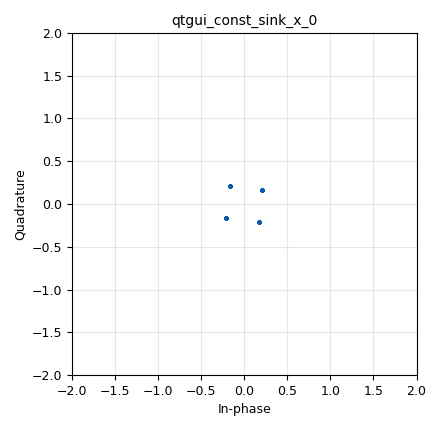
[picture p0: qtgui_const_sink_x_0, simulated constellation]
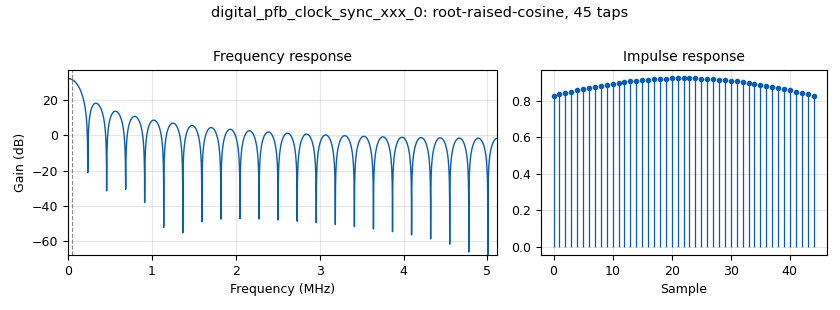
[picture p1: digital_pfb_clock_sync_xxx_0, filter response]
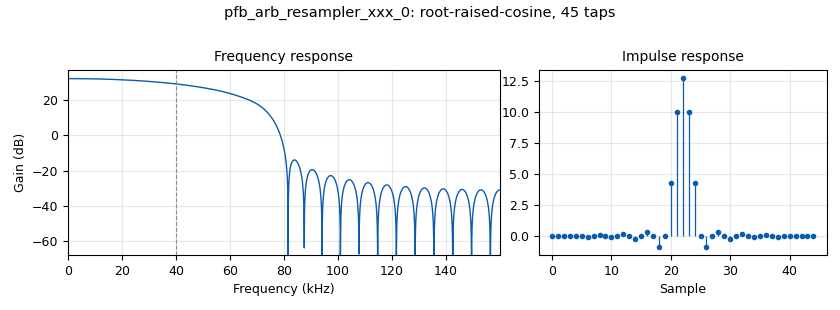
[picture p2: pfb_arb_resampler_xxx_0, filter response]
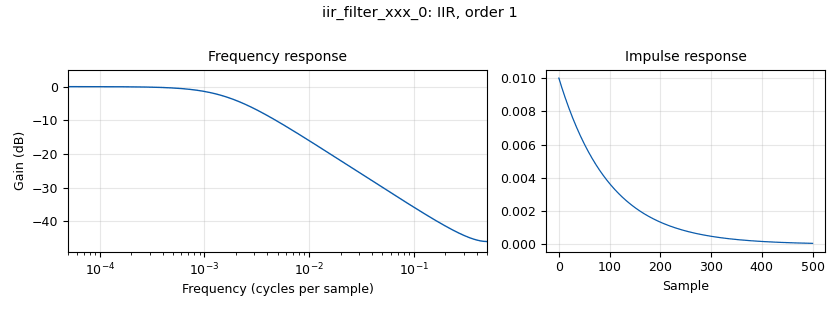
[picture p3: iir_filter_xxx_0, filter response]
options:
  parameters:
    author: aditya
    generate_options: qt_gui
    id: udp_feedback
    output_language: python
    title: Not titled yet
  states: {}

blocks:
- name: samp_rate
  id: variable
  parameters:
    value: '320000'
  states: {}
- name: sps
  id: variable
  parameters:
    value: '4'
  states: {}
- name: analog_const_source_x_0
  id: analog_const_source_x
  parameters:
    const: '1'
    type: byte
  states: {state: disabled}
- name: analog_random_source_x_0
  id: analog_random_source_x
  parameters:
    max: '4'
    min: '0'
    num_samps: '1000'
    repeat: 'True'
    type: byte
  states: {}
- name: analog_sig_source_x_0
  id: analog_sig_source_x
  parameters:
    amp: '1'
    freq: '0.1'
    offset: '0'
    phase: '0'
    samp_rate: samp_rate
    type: complex
    waveform: analog.GR_COS_WAVE
  states: {}
- name: blocks_add_const_vxx_0
  id: blocks_add_const_vxx
  parameters:
    const: '-0.5'
    type: float
  states: {}
- name: blocks_add_const_vxx_0_0
  id: blocks_add_const_vxx
  parameters:
    const: '-0.5'
    type: float
  states: {}
- name: blocks_complex_to_imag_0
  id: blocks_complex_to_imag
  parameters: {}
  states: {}
- name: blocks_complex_to_real_0
  id: blocks_complex_to_real
  parameters: {}
  states: {}
- name: blocks_delay_0_0
  id: blocks_delay
  parameters:
    delay: '10'
    type: float
  states: {}
- name: blocks_multiply_const_vxx_1
  id: blocks_multiply_const_vxx
  parameters:
    const: '1.414'
    type: float
  states: {}
- name: blocks_multiply_const_vxx_1_0
  id: blocks_multiply_const_vxx
  parameters:
    const: '1.414'
    type: float
  states: {}
- name: blocks_multiply_xx_0
  id: blocks_multiply_xx
  parameters:
    type: complex
  states: {}
- name: blocks_multiply_xx_0_0
  id: blocks_multiply_xx
  parameters:
    type: float
  states: {}
- name: blocks_multiply_xx_0_1
  id: blocks_multiply_xx
  parameters:
    type: float
  states: {}
- name: blocks_multiply_xx_1
  id: blocks_multiply_xx
  parameters:
    type: complex
  states: {}
- name: blocks_sub_xx_0
  id: blocks_sub_xx
  parameters:
    type: float
  states: {}
- name: blocks_threshold_ff_0
  id: blocks_threshold_ff
  parameters:
    high: '0.001'
    init: '0'
    low: '-0.001'
  states: {}
- name: blocks_threshold_ff_0_0
  id: blocks_threshold_ff
  parameters:
    high: '0.001'
    init: '0'
    low: '-0.001'
  states: {}
- name: blocks_throttle_0
  id: blocks_throttle
  parameters:
    samples_per_second: samp_rate
    type: complex
  states: {}
- name: blocks_udp_sink_0
  id: blocks_udp_sink
  parameters:
    eof: 'True'
    ipaddr: 127.0.0.1
    port: '12345'
    psize: '1472'
    type: float
    vlen: '1'
  states: {}
- name: blocks_udp_source_0
  id: blocks_udp_source
  parameters:
    eof: 'True'
    ipaddr: 127.0.0.1
    port: '12345'
    psize: '1472'
    type: float
    vlen: '1'
  states: {}
- name: blocks_vco_c_0
  id: blocks_vco_c
  parameters:
    amplitude: '1'
    samp_rate: samp_rate
    sensitivity: '-5'
  states: {}
- name: digital_chunks_to_symbols_xx_0
  id: digital_chunks_to_symbols_xx
  parameters:
    dimension: '1'
    in_type: byte
    out_type: complex
    symbol_table: ((1+1j),(-1+1j),(-1-1j),(1-1j))
  states: {}
- name: digital_pfb_clock_sync_xxx_0
  id: digital_pfb_clock_sync_xxx
  parameters:
    filter_size: '32'
    init_phase: '16'
    loop_bw: 2*3.14159265/100
    max_dev: '1.5'
    osps: '1'
    sps: sps
    taps: firdes.root_raised_cosine(40,32*samp_rate,samp_rate/sps,0.99,11*sps)
    type: ccf
  states: {}
- name: iir_filter_xxx_0
  id: iir_filter_xxx
  parameters:
    fbtaps: '[-1,0.99]'
    fftaps: '0.01'
    type: ffd
  states: {}
- name: iir_filter_xxx_1
  id: iir_filter_xxx
  parameters:
    fbtaps: '[-1, 1]'
    fftaps: '[1.0001, -1]'
    type: ffd
  states: {}
- name: pfb_arb_resampler_xxx_0
  id: pfb_arb_resampler_xxx
  parameters:
    atten: '100'
    nfilts: '32'
    rrate: sps
    taps: firdes.root_raised_cosine(40,samp_rate,samp_rate/sps,0.99,11*sps)
    type: ccf
  states: {}
- name: plots
  id: qtgui_tab_widget
  parameters:
    label0: QPSK with Frequency Offset
    label1: QPSK Carrier Phase Detection
    label2: Costas Loop
    num_tabs: '3'
  states: {}
- name: qtgui_const_sink_x_0
  id: qtgui_const_sink_x
  parameters:
    gui_hint: plots@0
    size: '1024'
    type: complex
  states: {}
- name: qtgui_const_sink_x_1
  id: qtgui_const_sink_x
  parameters:
    gui_hint: plots@2
    size: '1024'
    type: complex
  states: {}
- name: qtgui_time_sink_x_0
  id: qtgui_time_sink_x
  parameters:
    ctrlpanel: 'True'
    gui_hint: plots@1
    size: '1024'
    srate: samp_rate
    type: float
  states: {}
- name: virtual_sink_0
  id: virtual_sink
  parameters:
    stream_id: qpsk_freq_offset
  states: {}
- name: virtual_sink_1
  id: virtual_sink
  parameters:
    stream_id: vco_out
  states: {}
- name: virtual_source_0
  id: virtual_source
  parameters:
    stream_id: qpsk_freq_offset
  states: {}
- name: virtual_source_1
  id: virtual_source
  parameters:
    stream_id: vco_out
  states: {}

connections:
- [analog_const_source_x_0, '0', digital_chunks_to_symbols_xx_0, '0']
- [analog_random_source_x_0, '0', digital_chunks_to_symbols_xx_0, '0']
- [analog_sig_source_x_0, '0', blocks_multiply_xx_0, '1']
- [blocks_add_const_vxx_0, '0', blocks_multiply_const_vxx_1, '0']
- [blocks_add_const_vxx_0_0, '0', blocks_multiply_const_vxx_1_0, '0']
- [blocks_complex_to_imag_0, '0', blocks_multiply_xx_0_1, '1']
- [blocks_complex_to_imag_0, '0', blocks_threshold_ff_0_0, '0']
- [blocks_complex_to_real_0, '0', blocks_multiply_xx_0_0, '0']
- [blocks_complex_to_real_0, '0', blocks_threshold_ff_0, '0']
- [blocks_delay_0_0, '0', iir_filter_xxx_1, '0']
- [blocks_multiply_const_vxx_1, '0', blocks_multiply_xx_0_1, '0']
- [blocks_multiply_const_vxx_1_0, '0', blocks_multiply_xx_0_0, '1']
- [blocks_multiply_xx_0, '0', digital_pfb_clock_sync_xxx_0, '0']
- [blocks_multiply_xx_0_0, '0', blocks_sub_xx_0, '1']
- [blocks_multiply_xx_0_1, '0', blocks_sub_xx_0, '0']
- [blocks_multiply_xx_1, '0', blocks_complex_to_imag_0, '0']
- [blocks_multiply_xx_1, '0', blocks_complex_to_real_0, '0']
- [blocks_multiply_xx_1, '0', qtgui_const_sink_x_1, '0']
- [blocks_sub_xx_0, '0', blocks_udp_sink_0, '0']
- [blocks_sub_xx_0, '0', iir_filter_xxx_0, '0']
- [blocks_threshold_ff_0, '0', blocks_add_const_vxx_0, '0']
- [blocks_threshold_ff_0_0, '0', blocks_add_const_vxx_0_0, '0']
- [blocks_throttle_0, '0', qtgui_const_sink_x_0, '0']
- [blocks_udp_source_0, '0', blocks_delay_0_0, '0']
- [blocks_vco_c_0, '0', virtual_sink_1, '0']
- [digital_chunks_to_symbols_xx_0, '0', pfb_arb_resampler_xxx_0, '0']
- [digital_pfb_clock_sync_xxx_0, '0', blocks_throttle_0, '0']
- [digital_pfb_clock_sync_xxx_0, '0', virtual_sink_0, '0']
- [iir_filter_xxx_0, '0', qtgui_time_sink_x_0, '0']
- [iir_filter_xxx_1, '0', blocks_vco_c_0, '0']
- [pfb_arb_resampler_xxx_0, '0', blocks_multiply_xx_0, '0']
- [virtual_source_0, '0', blocks_multiply_xx_1, '0']
- [virtual_source_1, '0', blocks_multiply_xx_1, '1']

metadata:
  file_format: 1
  grc_version: 3.9.8.0-rc1
